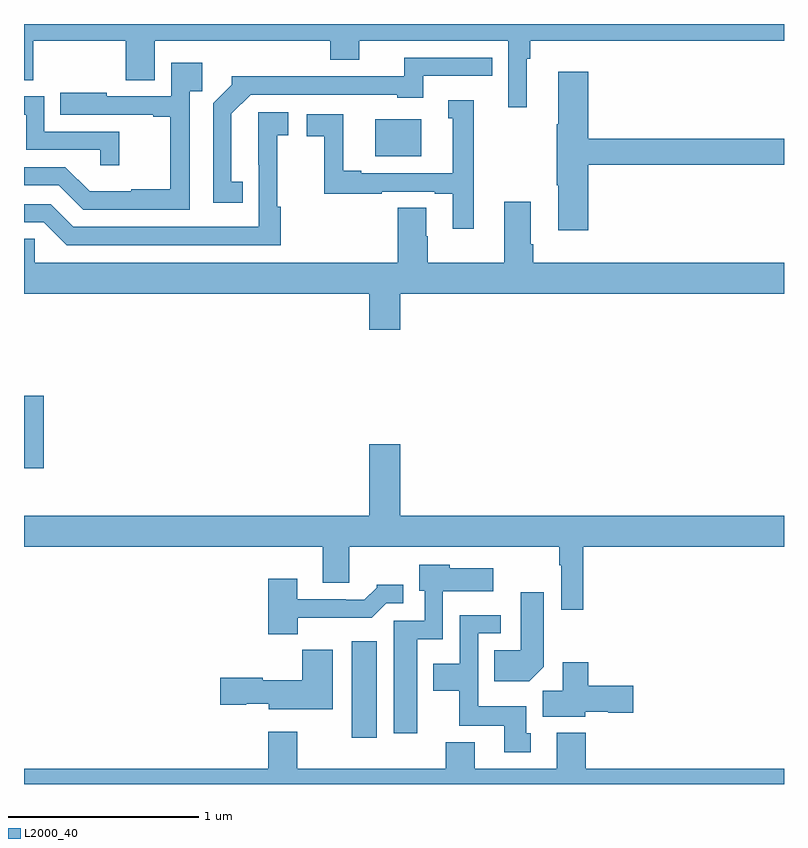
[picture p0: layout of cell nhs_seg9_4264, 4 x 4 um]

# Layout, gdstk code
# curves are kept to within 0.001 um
import gdstk
lib = gdstk.Library(unit=1e-6, precision=1e-09)
def R(c, l, rs):  # rectangles x0, y0, x1, y1
    for r in rs: c.add(gdstk.rectangle(r[:2], r[2:], *l))
def P(c, l, *ps):  # polygons
    for p in ps: c.add(gdstk.Polygon(p, *l))
L2000_40 = (2000, 40)

nhs_seg9_4264 = lib.new_cell('nhs_seg9_4264')
R(nhs_seg9_4264, L2000_40, [(356.726,1200.744,356.857,1201.252), (355,1202.163,355.103,1202.544), (356.849,1203.803,357.091,1204)])
P(nhs_seg9_4264, L2000_40, [(357.646,1204.316),(357.665,1204.316),(357.665,1204.412),(359,1204.412),(359,1204.5),(355,1204.5),(355,1204.204),(355.049,1204.204),(355.049,1204.412),(355.535,1204.412),(355.535,1204.204),(355.687,1204.204),(355.687,1204.412),(356.612,1204.412),(356.612,1204.313),(356.764,1204.313),(356.764,1204.412),(357.549,1204.412),(357.549,1204.062),(357.646,1204.062)],
  [(356.15,1203.671),(356.092,1203.671),(356.092,1204.027),(356.193,1204.128),(356.964,1204.128),(356.964,1204.112),(357.1,1204.112),(357.1,1204.227),(357.464,1204.227),(357.464,1204.323),(357.001,1204.323),(357.001,1204.224),(356.528,1204.224),(356.528,1204.226),(356.094,1204.226),(356.094,1204.181),(355.995,1204.082),(355.995,1203.558),(356.15,1203.558)],
  [(355.872,1204.145),(355.937,1204.145),(355.937,1204.297),(355.776,1204.297),(355.776,1204.119),(355.435,1204.119),(355.435,1204.138),(355.192,1204.138),(355.192,1204.023),(355.679,1204.023),(355.679,1204.011),(355.771,1204.011),(355.771,1203.631),(355.565,1203.631),(355.565,1203.619),(355.346,1203.619),(355.218,1203.747),(355,1203.747),(355,1203.651),(355.182,1203.651),(355.311,1203.522),(355.872,1203.522)],
  [(357.971,1203.76),(359,1203.76),(359,1203.896),(357.971,1203.896),(357.971,1204.249),(357.812,1204.249),(357.812,1203.973),(357.805,1203.973),(357.805,1203.652),(357.812,1203.652),(357.812,1203.414),(357.971,1203.414)],
  [(355.502,1203.933),(355.107,1203.933),(355.107,1204.119),(355,1204.119),(355,1204.023),(355.011,1204.023),(355.011,1203.837),(355.401,1203.837),(355.401,1203.756),(355.502,1203.756)],
  [(357.367,1204.099),(357.233,1204.099),(357.233,1204.005),(357.257,1204.005),(357.257,1203.714),(356.776,1203.714),(356.776,1203.727),(356.68,1203.727),(356.68,1204.026),(356.487,1204.026),(356.487,1203.91),(356.581,1203.91),(356.581,1203.606),(356.882,1203.606),(356.882,1203.618),(357.161,1203.618),(357.161,1203.606),(357.257,1203.606),(357.257,1203.423),(357.367,1203.423)],
  [(356.351,1203.539),(356.334,1203.539),(356.334,1203.915),(356.392,1203.915),(356.392,1204.036),(356.234,1204.036),(356.235,1203.432),(355.26,1203.432),(355.14,1203.552),(355,1203.552),(355,1203.456),(355.104,1203.456),(355.224,1203.336),(356.351,1203.336)],
  [(355,1203.371),(355,1203.08),(356.816,1203.08),(356.816,1202.892),(356.98,1202.892),(356.98,1203.08),(359,1203.08),(359,1203.244),(357.68,1203.244),(357.68,1203.34),(357.667,1203.34),(357.667,1203.565),(357.527,1203.565),(357.527,1203.244),(357.126,1203.244),(357.126,1203.383),(357.118,1203.383),(357.118,1203.533),(356.966,1203.533),(356.966,1203.244),(355.056,1203.244),(355.056,1203.371)],
  [(357.944,1201.748),(359,1201.748),(359,1201.912),(356.98,1201.912),(356.98,1202.287),(356.816,1202.287),(356.816,1201.912),(355,1201.912),(355,1201.748),(356.573,1201.748),(356.573,1201.558),(356.713,1201.558),(356.713,1201.748),(357.816,1201.748),(357.816,1201.652),(357.828,1201.652),(357.828,1201.416),(357.944,1201.416)],
  [(357.07,1201.262),(357.204,1201.262),(357.204,1201.514),(357.469,1201.514),(357.469,1201.636),(357.24,1201.636),(357.24,1201.654),(357.08,1201.654),(357.08,1201.518),(357.108,1201.518),(357.108,1201.359),(356.945,1201.359),(356.945,1200.768),(357.07,1200.768)],
  [(356.44,1201.376),(356.831,1201.376),(356.907,1201.452),(356.995,1201.452),(356.995,1201.549),(356.856,1201.549),(356.856,1201.534),(356.792,1201.47),(356.693,1201.47),(356.693,1201.473),(356.437,1201.473),(356.437,1201.579),(356.285,1201.579),(356.285,1201.289),(356.44,1201.289)],
  [(357.736,1201.118),(357.736,1201.51),(357.614,1201.51),(357.614,1201.204),(357.475,1201.204),(357.475,1201.04),(357.658,1201.04)],
  [(357.667,1200.768),(357.643,1200.768),(357.643,1200.91),(357.39,1200.91),(357.39,1201.293),(357.508,1201.293),(357.508,1201.389),(357.294,1201.389),(357.294,1201.132),(357.155,1201.132),(357.155,1200.992),(357.292,1200.992),(357.292,1200.806),(357.527,1200.806),(357.527,1200.666),(357.667,1200.666)],
  [(356.626,1201.207),(356.464,1201.207),(356.464,1201.045),(356.256,1201.045),(356.256,1201.058),(356.034,1201.058),(356.034,1200.916),(356.169,1200.916),(356.169,1200.923),(356.288,1200.923),(356.288,1200.893),(356.626,1200.893)],
  [(357.954,1200.881),(358.074,1200.881),(358.074,1200.874),(358.207,1200.874),(358.207,1201.016),(357.971,1201.016),(357.971,1201.141),(357.836,1201.141),(357.836,1200.992),(357.731,1200.992),(357.731,1200.854),(357.954,1200.854)],
  [(357.803,1200.769),(357.803,1200.58),(357.373,1200.58),(357.373,1200.721),(357.221,1200.721),(357.221,1200.58),(356.437,1200.58),(356.437,1200.775),(356.285,1200.775),(356.285,1200.58),(355,1200.58),(355,1200.5),(359,1200.5),(359,1200.58),(357.956,1200.58),(357.956,1200.769)])

lib.write_gds('nhs_seg9_4264.gds')
